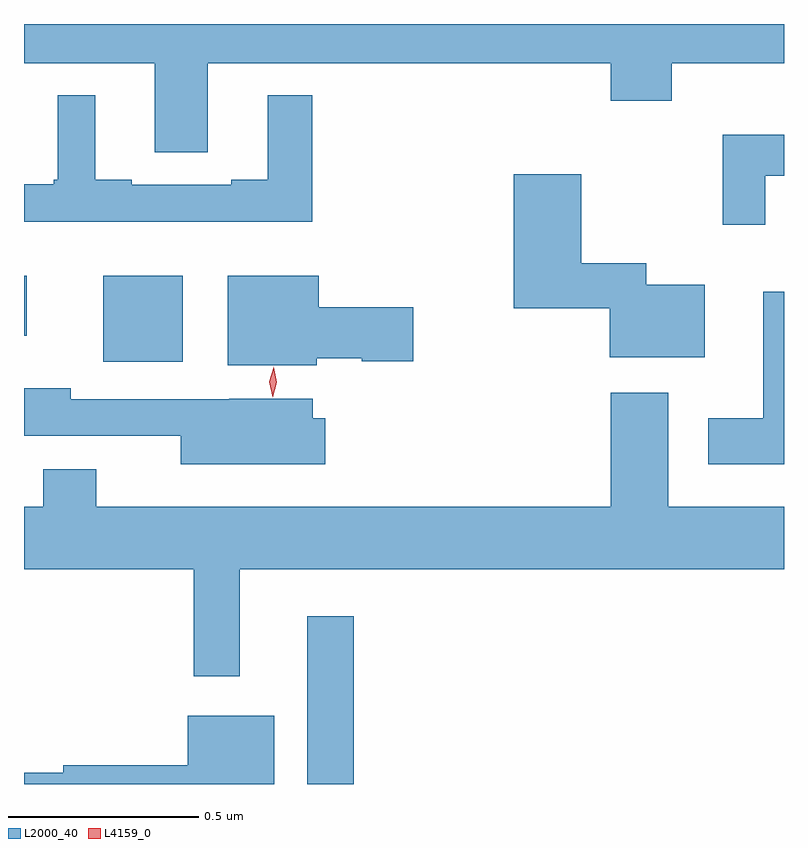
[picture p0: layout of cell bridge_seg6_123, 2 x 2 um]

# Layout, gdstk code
import gdstk
lib = gdstk.Library(unit=1e-6, precision=1e-09)
def R(c, l, rs):  # rectangles x0, y0, x1, y1
    for r in rs: c.add(gdstk.rectangle(r[:2], r[2:], *l))
def P(c, l, *ps):  # polygons
    for p in ps: c.add(gdstk.Polygon(p, *l))
L2000_40 = (2000, 40)
L4159_0 = (4159, 0)

bridge_seg6_123 = lib.new_cell('bridge_seg6_123')
R(bridge_seg6_123, L2000_40, [(399.221,965.419,399.343,965.86), (398.684,966.53,398.893,966.757), (398.475,966.599,398.482,966.757)])
P(bridge_seg6_123, L2000_40, [(398.959,967.316),(400.019,967.316),(400.019,967.217),(400.179,967.217),(400.179,967.316),(400.475,967.316),(400.475,967.419),(398.475,967.419),(398.475,967.316),(398.819,967.316),(398.819,967.081),(398.959,967.081)],
  [(399.233,967.231),(399.116,967.231),(399.116,967.009),(399.02,967.009),(399.02,966.996),(398.758,966.996),(398.758,967.009),(398.662,967.009),(398.662,967.231),(398.564,967.231),(398.564,967.009),(398.553,967.009),(398.553,966.997),(398.475,966.997),(398.475,966.899),(399.233,966.899)],
  [(400.425,967.02),(400.475,967.02),(400.475,967.128),(400.314,967.128),(400.314,966.891),(400.425,966.891)],
  [(400.267,966.733),(400.113,966.733),(400.113,966.789),(399.942,966.789),(399.942,967.024),(399.764,967.024),(399.764,966.671),(400.017,966.671),(400.017,966.542),(400.267,966.542)],
  [(399.246,966.539),(399.364,966.539),(399.364,966.532),(399.499,966.532),(399.499,966.674),(399.25,966.674),(399.25,966.757),(399.011,966.757),(399.011,966.521),(399.246,966.521)],
  [(400.475,966.715),(400.421,966.715),(400.421,966.382),(400.275,966.382),(400.275,966.26),(400.475,966.26)],
  [(399.268,966.382),(399.235,966.382),(399.235,966.433),(399.015,966.433),(399.015,966.432),(398.598,966.432),(398.598,966.46),(398.475,966.46),(398.475,966.336),(398.888,966.336),(398.888,966.26),(399.268,966.26)],
  [(399.043,965.984),(400.475,965.984),(400.475,966.148),(400.171,966.148),(400.171,966.448),(400.019,966.448),(400.019,966.148),(398.665,966.148),(398.665,966.247),(398.525,966.247),(398.525,966.148),(398.475,966.148),(398.475,965.984),(398.922,965.984),(398.922,965.703),(399.043,965.703)],
  [(399.133,965.599),(398.906,965.599),(398.906,965.468),(398.578,965.468),(398.578,965.448),(398.475,965.448),(398.475,965.419),(399.133,965.419)])
P(bridge_seg6_123, L4159_0, [(399.129,966.437),(399.129,966.437),(399.12,966.477),(399.132,966.516),(399.132,966.517),(399.132,966.516),(399.14,966.476),(399.129,966.437)])

lib.write_gds('bridge_seg6_123.gds')
